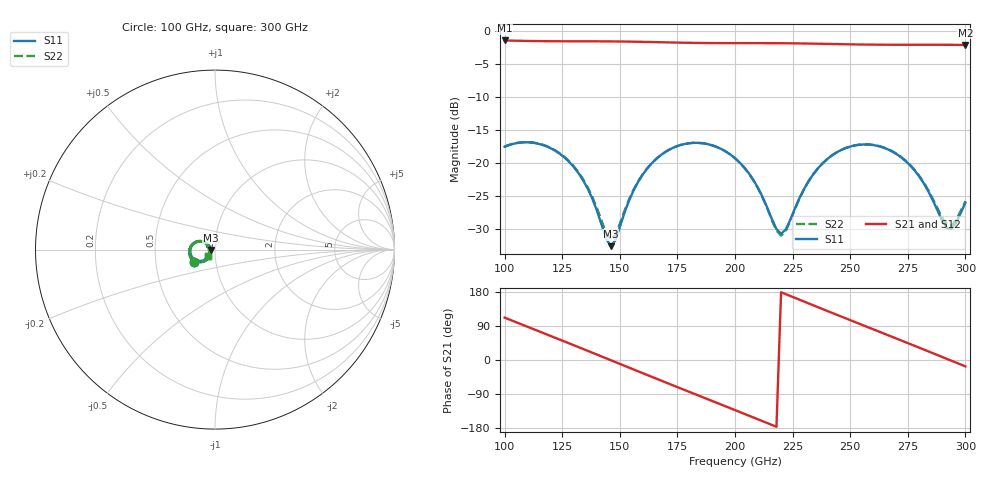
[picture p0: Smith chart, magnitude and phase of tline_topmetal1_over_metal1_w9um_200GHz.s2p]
#  GHZ S DB R 50
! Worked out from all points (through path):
!   101 points, 100 GHz to 300 GHz, reference 50 ohm
!   highest |S21| = -1.41 dB at 100 GHz (marker M1); lowest = -2.1 dB at 300 GHz (marker M2)
!   group delay of S21, straight-line fit = 6.79 ps
!   lowest |S11| = -32.5 dB at 146 GHz (marker M3), VSWR 1.05, Z = 47.7 - j0.214 ohm
!   |S11| at or under -10 dB: start of sweep to end of sweep
!   |S22| runs from -31.5 to -16.8 dB; largest |S21 - S12| = 1.4e-13
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100  -17.49 -149.7  -1.41 111.9  -1.41 111.9  -17.47 -149.2
108  -16.83 -166.8  -1.47 92.4  -1.47 92.4  -16.80 -166.1
116  -17.16 176.3  -1.51 73.0  -1.51 73.0  -17.12 177.2
126  -19.12 156.6  -1.54 48.8  -1.54 48.8  -19.05 157.8
134  -22.52 144.5  -1.54 29.2  -1.54 29.2  -22.37 146.3
146  -32.53 -174.6  -1.56 -0.3  -1.56 -0.3  -31.54 -175.1
158  -22.77 -127.9  -1.61 -29.9  -1.61 -29.9  -22.70 -130.0
168  -18.71 -143.0  -1.68 -54.5  -1.68 -54.5  -18.69 -144.2
176  -17.27 -158.5  -1.74 -74.0  -1.74 -74.0  -17.26 -159.4
184  -16.90 -174.4  -1.79 -93.4  -1.79 -93.4  -16.90 -175.2
200  -19.22 155.5  -1.82 -132.2  -1.82 -132.2  -19.24 154.9
210  -23.73 144.8  -1.82 -156.6  -1.82 -156.6  -23.78 144.0
220  -30.65 -175.1  -1.83 178.8  -1.83 178.8  -30.91 -174.9
234  -21.64 -136.1  -1.90 144.3  -1.90 144.3  -21.64 -135.5
244  -18.37 -150.9  -1.96 119.8  -1.96 119.8  -18.36 -150.4
252  -17.30 -165.6  -2.01 100.4  -2.01 100.4  -17.28 -165.1
260  -17.23 179.2  -2.05 81.0  -2.05 81.0  -17.21 179.7
268  -18.16 164.5  -2.06 61.6  -2.06 61.6  -18.13 165.2
280  -22.01 147.7  -2.06 32.4  -2.06 32.4  -21.91 148.8
292  -29.82 175.8  -2.07 2.9  -2.07 2.9  -29.30 176.2
296  -28.98 -153.0  -2.08 -7.0  -2.08 -7.0  -28.56 -154.7
300  -25.95 -138.0  -2.10 -16.8  -2.10 -16.8  -25.75 -140.0
